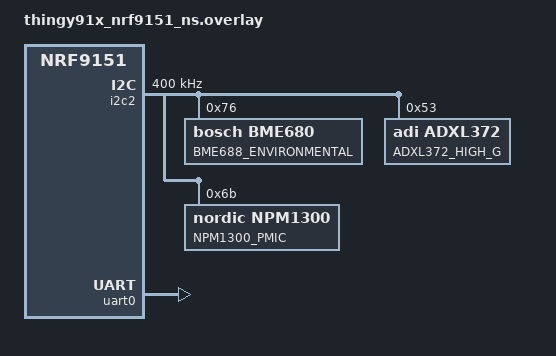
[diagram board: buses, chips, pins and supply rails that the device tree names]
/*
 * Copyright (c) 2026 Nordic Semiconductor ASA
 *
 * SPDX-License-Identifier: LicenseRef-Nordic-5-Clause
 */

/*
 * Device Tree Overlay Template for Nordic Thingy:91 X (nRF9151 NS target)
 * Use this file to customize pin routing, sensor configurations, and enabled buses.
 */

/ {
	aliases {
		/* Add application-specific aliases here */
		// sensor-imu = &imu;
	};
};

&i2c2 {
	status = "okay";
	clock-frequency = <I2C_BITRATE_FAST>;

	bme680: bme680@76 {
		compatible = "bosch,bme680";
		reg = <0x76>;
		label = "BME688_ENVIRONMENTAL";
	};

	adxl372: adxl372@53 {
		compatible = "adi,adxl372";
		reg = <0x53>;
		label = "ADXL372_HIGH_G";
	};

	npm1300: npm1300@6b {
		compatible = "nordic,npm1300";
		reg = <0x6b>;
		label = "NPM1300_PMIC";
	};
};

/* Example: Enabling low power states on UART console */
&uart0 {
	status = "okay";
	/* Enable power management control for the UART driver */
	/delete-property/ hw-flow-control;
};
